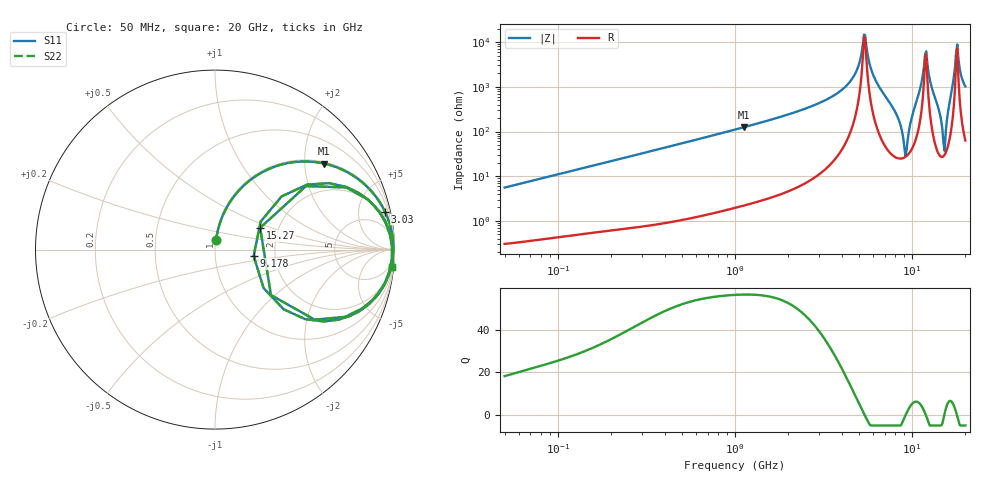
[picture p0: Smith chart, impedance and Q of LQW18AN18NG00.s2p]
!Murata Part Number: LQW18AN18NG00
!These Parameters are Measured in Series Mode Connection
!  o--[Z]--o
!Port1  Port2
!  o-------o
!Freq. Start=50[MHz] Stop=20[GHz], 401[Steps]
# Hz S RI R 50
!Freq.(Hz) S11(Real) S11(Imag) S21(Real) S21(Imag) S12(Real) S12(Imag) S22(Real) S22(Imag)
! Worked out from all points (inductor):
!   401 points, 50 MHz to 20 GHz, reference 50 ohm
!   read as one part in series: L = 17.6 nH near 51.52 MHz
!   highest Q = 56.5 at 1.127 GHz (marker M1), where L = 17.7 nH
!   self-resonance near 5.353 GHz
!   S11 on the Smith chart (normalised r, x): 50 MHz: 1.01, +0.11; 3.03 GHz: 1.23, +8.88; 9.178 GHz: 1.54, -0.12; 15.27 GHz: 1.60, +0.42; 20 GHz: 2, -20
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5e7  0.00611 0.0552  0.9939 -0.0552  0.9939 -0.0552  0.00611 0.0552
1.364002e8  0.0265 0.1446  0.9735 -0.1446  0.9735 -0.1446  0.0265 0.1446
3.721004e8  0.1454 0.3421  0.8546 -0.3421  0.8546 -0.3421  0.1454 0.3421
1e9  0.5483 0.4889  0.4517 -0.4889  0.4517 -0.4889  0.5483 0.4889
1.127304e9  0.609 0.4792  0.391 -0.4792  0.391 -0.4792  0.609 0.4792
2.728004e9  0.9278 0.2475  0.0722 -0.2475  0.0722 -0.2475  0.9278 0.2475
3.029571e9  0.9468 0.2118  0.0532 -0.2118  0.0532 -0.2118  0.9468 0.2118
4.539627e9  0.9898 0.0688  0.0102 -0.0688  0.0102 -0.0688  0.9898 0.0688
5.352748e9  0.994 0.00301  0.006 -0.00301  0.006 -0.00301  0.994 0.00301
6.125241e9  0.9888 -0.0612  0.0112 0.0612  0.0112 0.0612  0.9888 -0.0612
7.442007e9  0.9396 -0.2031  0.0604 0.2031  0.0604 0.2031  0.9396 -0.2031
8.644534e9  0.6063 -0.4004  0.3937 0.4004  0.3937 0.4004  0.6063 -0.4004
9.178299e9  0.2153 -0.0359  0.7847 0.0359  0.7847 0.0359  0.2153 -0.0359
9.745021e9  0.6368 0.3703  0.3632 -0.3703  0.3632 -0.3703  0.6368 0.3703
1.050288e10  0.9176 0.2059  0.0824 -0.2059  0.0824 -0.2059  0.9176 0.2059
1.201863e10  0.9861 -0.00768  0.0139 0.00768  0.0139 0.00768  0.9861 -0.00768
1.375312e10  0.9351 -0.2048  0.0649 0.2048  0.0649 0.2048  0.9351 -0.2048
1.460232e10  0.7254 -0.3749  0.2746 0.3749  0.2746 0.3749  0.7254 -0.3749
1.527346e10  0.2515 0.1215  0.7485 -0.1215  0.7485 -0.1215  0.2515 0.1215
1.597544e10  0.853 0.2778  0.147 -0.2778  0.147 -0.2778  0.853 0.2778
1.774144e10  0.9896 0.0119  0.0104 -0.0119  0.0104 -0.0119  0.9896 0.0119
2e10  0.9847 -0.0958  0.0153 0.0958  0.0153 0.0958  0.9847 -0.0958
